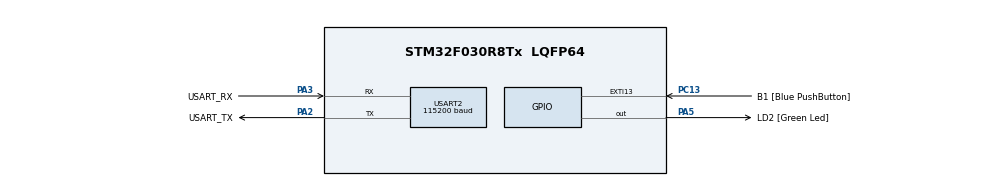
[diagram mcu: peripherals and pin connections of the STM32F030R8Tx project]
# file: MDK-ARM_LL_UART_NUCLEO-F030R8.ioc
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Mcu.Family=STM32F0
Mcu.Name=STM32F030R8Tx
Mcu.Package=LQFP64
NVIC.USART2_IRQn=true\:0\:0\:false\:false\:true\:true\:true
PA13.GPIO_Label=TMS
PA13.Mode=Serial_Wire
PA13.Signal=SYS_SWDIO
PA14.GPIO_Label=TCK
PA14.Mode=Serial_Wire
PA14.Signal=SYS_SWCLK
PA2.GPIO_Label=USART_TX
PA2.GPIO_Mode=GPIO_MODE_AF_PP
PA2.GPIO_PuPd=GPIO_NOPULL
PA2.GPIO_Speed=GPIO_SPEED_FREQ_LOW
PA2.Mode=Asynchronous
PA2.Signal=USART2_TX
PA3.GPIO_Label=USART_RX
PA3.GPIO_Mode=GPIO_MODE_AF_PP
PA3.GPIO_PuPd=GPIO_NOPULL
PA3.GPIO_Speed=GPIO_SPEED_FREQ_LOW
PA3.Mode=Asynchronous
PA3.Signal=USART2_RX
PA5.GPIO_Label=LD2 [Green Led]
PA5.GPIO_Mode=GPIO_MODE_OUTPUT_PP
PA5.GPIO_PuPd=GPIO_NOPULL
PA5.GPIO_Speed=GPIO_SPEED_FREQ_LOW
PA5.Signal=GPIO_Output
PC13.GPIO_Label=B1 [Blue PushButton]
PC13.GPIO_ModeDefaultEXTI=GPIO_MODE_IT_FALLING
PC13.Signal=GPXTI13
PC14-OSC32_IN.Mode=LSE-External-Oscillator
PC14-OSC32_IN.Signal=RCC_OSC32_IN
PC15-OSC32_OUT.Mode=LSE-External-Oscillator
PC15-OSC32_OUT.Signal=RCC_OSC32_OUT
PF0-OSC_IN.Mode=HSE-External-Clock-Source
PF0-OSC_IN.Signal=RCC_OSC_IN
PF1-OSC_OUT.Signal=RCC_OSC_OUT
ProjectManager.HeapSize=0x200
ProjectManager.StackSize=0x400
ProjectManager.TargetToolchain=MDK-ARM V5.27
RCC.AHBFreq_Value=48000000
RCC.APB1Freq_Value=48000000
RCC.APB1TimFreq_Value=48000000
RCC.HCLKFreq_Value=48000000
RCC.PLLMUL=RCC_PLL_MUL12
RCC.SYSCLKFreq_VALUE=48000000
RCC.SYSCLKSource=RCC_SYSCLKSOURCE_PLLCLK
USART2.BaudRate=115200
USART2.VirtualMode-Asynchronous=VM_ASYNC
board=NUCLEO-F030R8

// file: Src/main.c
/* USER CODE BEGIN Header */
/**
  ******************************************************************************
  * @file           : main.c
  * @brief          : Main program body
  ******************************************************************************
  * @attention
  *
  * <h2><center>&copy; Copyright (c) 2020 STMicroelectronics.
  * All rights reserved.</center></h2>
  *
  * This software component is licensed by ST under BSD 3-Clause license,
  * the "License"; You may not use this file except in compliance with the
  * License. You may obtain a copy of the License at:
  *                        opensource.org/licenses/BSD-3-Clause
  *
  ******************************************************************************
  */
/* USER CODE END Header */

#include "main.h"

/* USER CODE BEGIN Includes */
#include "bare.h"
#include "triceCheck.h"
/* USER CODE END Includes */

/* USER CODE BEGIN PV */
int milliSecond = 0;
int Second = 0;
/* USER CODE END PV */

void SystemClock_Config(void);
static void MX_GPIO_Init(void);
static void MX_USART2_UART_Init(void);

int main(void)
{
  /* USER CODE BEGIN 1 */
#ifdef ENCRYPT
    InitXteaTable();
#endif
  /* USER CODE END 1 */

  /* MCU Configuration--------------------------------------------------------*/

  /* Reset of all peripherals, Initializes the Flash interface and the Systick. */

  LL_APB1_GRP2_EnableClock(LL_APB1_GRP2_PERIPH_SYSCFG);
  LL_APB1_GRP1_EnableClock(LL_APB1_GRP1_PERIPH_PWR);

  /* System interrupt init*/

  /* Configure the system clock */
  SystemClock_Config();

  /* USER CODE BEGIN SysInit */
    SysTick->CTRL |= SysTick_CTRL_TICKINT_Msk; // enable SysTick interrupt
  /* USER CODE END SysInit */

  /* Initialize all configured peripherals */
  MX_GPIO_Init();
  MX_USART2_UART_Init();
  /* USER CODE BEGIN 2 */
  LL_USART_EnableIT_RXNE(TRICE_UART); // enable UART2 interrupt
  /* USER CODE END 2 */

  /* Infinite loop */
	  TRICE_SYNC;
    TRICE0( Id(38388), "s:                                        \ns:   ARM-MDK_LL_UART_BARE_NUCLEO-F070RB   \ns:                                        \n\n");
    TRICE8_2( Id(24187), "att:Hello, %d+%d=", 250,255 );
    TRICE16_1( Id(15490), "att:%d, ok?\n", 250+255 );
   // TRICE16_1( Id(39911), "SIG:val=%04x\n", 0x2211 );
	  TRICE_SYNC;
	  TRICE_SYNC;
    TRICE0( Id(51981), "msg:Yes!\n" );
    TRICE0( Id(45592), "msg:Yes!\n" );

  /* USER CODE BEGIN WHILE */
    TRICE_SYNC;
    TRICE16_1( Id(22933), "TIM:timing      message, SysTick is %6d\n", SYSTICKVAL16 );
    TRICE0( Id(50381), "att:MDK-ARM_LL_UART_NUCLEO-F030R8\n" );
    TRICE16_1( Id( 2140), "TIM:timing      message, SysTick is %6d\n", SYSTICKVAL16 );
    TRICE16_1( Id(18662), "TIM:timing      message, SysTick is %6d\n", SYSTICKVAL16 );
    TRICE16_1( Id(33813), "TIM:timing      message, SysTick is %6d\n", SYSTICKVAL16 );
    TRICE16_1( Id(35310), "TIM:timing      message, SysTick is %6d\n", SYSTICKVAL16 );
    {
        char* s = "Hi5!\n";
        triceWrite( s, strlen(s));
    }
    while (1)
    {
    //////////////////////////////////////////////////
    // demo trices
    //

			static int lastSecond = -1;
			if( Second != lastSecond ){
				//TRICE16_1( Id(55353), "SIG:val=%04x\n", Second );
				TRICE_SYNC;
				triceCheckSet(Second);
				lastSecond = Second;
			}

    static uint32_t ms_1 = 0;
    if( ms >= ms_1 + 1000 ){ // every sec
        static int index = 0;
        TRICE_SYNC;
        {
            char* s = "Hi5!\n";
            triceWrite( s, strlen(s));
        }
        triceCheckSet(index++%20);
        TRICE32_1( Id(42754), "time:ms = %d\n", ms );
        LL_GPIO_TogglePin(LD2_GPIO_Port, LD2_Pin);
        ms_1 = ms;
    }
    //
    //////////////////////////////////////////////////

    //////////////////////////////////////////////////
    // needed background activity
    //
        #ifdef LL_INTERFACE_NO_INTERRUPTS
        triceServe();
        #endif
    //
    //////////////////////////////////////////////////
    /* USER CODE END WHILE */

    /* USER CODE BEGIN 3 */
      //triceServeUartOut();
  }
  /* USER CODE END 3 */
}

void SystemClock_Config(void)
{
  LL_FLASH_SetLatency(LL_FLASH_LATENCY_1);

  if(LL_FLASH_GetLatency() != LL_FLASH_LATENCY_1)
  {
  Error_Handler();
  }
  LL_RCC_HSI_Enable();

   /* Wait till HSI is ready */
  while(LL_RCC_HSI_IsReady() != 1)
  {

  }
  LL_RCC_HSI_SetCalibTrimming(16);
  LL_RCC_PLL_ConfigDomain_SYS(LL_RCC_PLLSOURCE_HSI_DIV_2, LL_RCC_PLL_MUL_12);
  LL_RCC_PLL_Enable();

   /* Wait till PLL is ready */
  while(LL_RCC_PLL_IsReady() != 1)
  {

  }
  LL_RCC_SetAHBPrescaler(LL_RCC_SYSCLK_DIV_1);
  LL_RCC_SetAPB1Prescaler(LL_RCC_APB1_DIV_1);
  LL_RCC_SetSysClkSource(LL_RCC_SYS_CLKSOURCE_PLL);

   /* Wait till System clock is ready */
  while(LL_RCC_GetSysClkSource() != LL_RCC_SYS_CLKSOURCE_STATUS_PLL)
  {

  }
  LL_Init1msTick(48000000);
  LL_SetSystemCoreClock(48000000);
}

static void MX_USART2_UART_Init(void)
{

  LL_USART_InitTypeDef USART_InitStruct = {0};

  LL_GPIO_InitTypeDef GPIO_InitStruct = {0};

  /* Peripheral clock enable */
  LL_APB1_GRP1_EnableClock(LL_APB1_GRP1_PERIPH_USART2);

  LL_AHB1_GRP1_EnableClock(LL_AHB1_GRP1_PERIPH_GPIOA);
  /**USART2 GPIO Configuration
  PA2   ------> USART2_TX
  PA3   ------> USART2_RX
  */
  GPIO_InitStruct.Pin = USART_TX_Pin;
  GPIO_InitStruct.Mode = LL_GPIO_MODE_ALTERNATE;
  GPIO_InitStruct.Speed = LL_GPIO_SPEED_FREQ_LOW;
  GPIO_InitStruct.OutputType = LL_GPIO_OUTPUT_PUSHPULL;
  GPIO_InitStruct.Pull = LL_GPIO_PULL_NO;
  GPIO_InitStruct.Alternate = LL_GPIO_AF_1;
  LL_GPIO_Init(USART_TX_GPIO_Port, &GPIO_InitStruct);

  GPIO_InitStruct.Pin = USART_RX_Pin;
  GPIO_InitStruct.Mode = LL_GPIO_MODE_ALTERNATE;
  GPIO_InitStruct.Speed = LL_GPIO_SPEED_FREQ_LOW;
  GPIO_InitStruct.OutputType = LL_GPIO_OUTPUT_PUSHPULL;
  GPIO_InitStruct.Pull = LL_GPIO_PULL_NO;
  GPIO_InitStruct.Alternate = LL_GPIO_AF_1;
  LL_GPIO_Init(USART_RX_GPIO_Port, &GPIO_InitStruct);

  /* USART2 interrupt Init */
  NVIC_SetPriority(USART2_IRQn, 0);
  NVIC_EnableIRQ(USART2_IRQn);

  USART_InitStruct.BaudRate = 115200;
  USART_InitStruct.DataWidth = LL_USART_DATAWIDTH_8B;
  USART_InitStruct.StopBits = LL_USART_STOPBITS_1;
  USART_InitStruct.Parity = LL_USART_PARITY_NONE;
  USART_InitStruct.TransferDirection = LL_USART_DIRECTION_TX_RX;
  USART_InitStruct.HardwareFlowControl = LL_USART_HWCONTROL_NONE;
  USART_InitStruct.OverSampling = LL_USART_OVERSAMPLING_16;
  LL_USART_Init(USART2, &USART_InitStruct);
  LL_USART_DisableIT_CTS(USART2);
  LL_USART_ConfigAsyncMode(USART2);
  LL_USART_Enable(USART2);

}

static void MX_GPIO_Init(void)
{
  LL_EXTI_InitTypeDef EXTI_InitStruct = {0};
  LL_GPIO_InitTypeDef GPIO_InitStruct = {0};

  /* GPIO Ports Clock Enable */
  LL_AHB1_GRP1_EnableClock(LL_AHB1_GRP1_PERIPH_GPIOC);
  LL_AHB1_GRP1_EnableClock(LL_AHB1_GRP1_PERIPH_GPIOF);
  LL_AHB1_GRP1_EnableClock(LL_AHB1_GRP1_PERIPH_GPIOA);

  /**/
  LL_GPIO_ResetOutputPin(LD2_GPIO_Port, LD2_Pin);

  /**/
  LL_SYSCFG_SetEXTISource(LL_SYSCFG_EXTI_PORTC, LL_SYSCFG_EXTI_LINE13);

  /**/
  LL_GPIO_SetPinPull(B1_GPIO_Port, B1_Pin, LL_GPIO_PULL_NO);

  /**/
  LL_GPIO_SetPinMode(B1_GPIO_Port, B1_Pin, LL_GPIO_MODE_INPUT);

  /**/
  EXTI_InitStruct.Line_0_31 = LL_EXTI_LINE_13;
  EXTI_InitStruct.LineCommand = ENABLE;
  EXTI_InitStruct.Mode = LL_EXTI_MODE_IT;
  EXTI_InitStruct.Trigger = LL_EXTI_TRIGGER_FALLING;
  LL_EXTI_Init(&EXTI_InitStruct);

  /**/
  GPIO_InitStruct.Pin = LD2_Pin;
  GPIO_InitStruct.Mode = LL_GPIO_MODE_OUTPUT;
  GPIO_InitStruct.Speed = LL_GPIO_SPEED_FREQ_LOW;
  GPIO_InitStruct.OutputType = LL_GPIO_OUTPUT_PUSHPULL;
  GPIO_InitStruct.Pull = LL_GPIO_PULL_NO;
  LL_GPIO_Init(LD2_GPIO_Port, &GPIO_InitStruct);

}

void Error_Handler(void)
{
}

/************************ (C) COPYRIGHT STMicroelectronics *****END OF FILE****/
